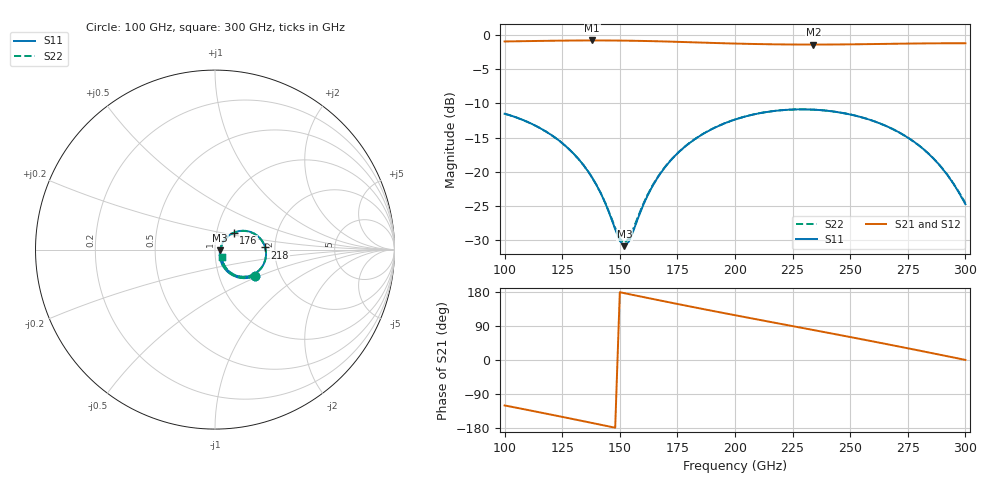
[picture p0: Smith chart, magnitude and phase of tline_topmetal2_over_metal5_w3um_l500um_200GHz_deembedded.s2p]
! Created with skrf 2.2.0 (http://scikit-rf.org).
# GHz S DB R 50.0
! Port[1] = P1
! Port[2] = P2
!freq dBS11 angS11 dBS21 angS21 dBS12 angS12 dBS22 angS22
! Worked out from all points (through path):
!   101 points, 100 GHz to 300 GHz, reference 50 ohm
!   highest |S21| = -0.78 dB at 138 GHz (marker M1); lowest = -1.4 dB at 234 GHz (marker M2)
!   group delay of S21, straight-line fit = 3.31 ps
!   lowest |S11| = -30.9 dB at 152 GHz (marker M3), VSWR 1.06, Z = 52.9 - j0.503 ohm
!   |S11| at or under -10 dB: start of sweep to end of sweep
!   |S22| runs from -30.4 to -10.9 dB; largest |S21 - S12| = 1e-13
!   S11 on the Smith chart (normalised r, x): 100 GHz: 1.48, -0.47; 176 GHz: 1.21, +0.23; 218 GHz: 1.77, +0.05; 300 GHz: 1.07, -0.09
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100  -11.50 -33.3  -0.93 -119.9  -0.93 -119.9  -11.51 -33.1
120  -14.56 -53.0  -0.83 -144.0  -0.83 -144.0  -14.57 -52.7
128  -16.70 -59.7  -0.80 -153.8  -0.80 -153.8  -16.71 -59.2
134  -18.93 -63.3  -0.78 -161.2  -0.78 -161.2  -18.93 -62.6
138  -20.86 -64.2  -0.78 -166.2  -0.78 -166.2  -20.85 -63.3
144  -24.85 -59.7  -0.78 -173.7  -0.78 -173.7  -24.78 -58.2
150  -30.12 -30.5  -0.80 178.8  -0.80 178.8  -29.77 -28.9
152  -30.90 -9.6  -0.81 176.3  -0.81 176.3  -30.44 -8.9
154  -30.20 11.5  -0.82 173.8  -0.82 173.8  -29.76 11.0
162  -23.52 44.2  -0.87 163.9  -0.87 163.9  -23.40 43.1
168  -20.07 46.0  -0.92 156.5  -0.92 156.5  -20.01 45.1
176  -17.01 42.0  -0.99 146.7  -0.99 146.7  -16.97 41.4
186  -14.50 33.9  -1.10 134.7  -1.10 134.7  -14.48 33.4
200  -12.36 20.6  -1.23 118.2  -1.23 118.2  -12.35 20.2
218  -11.07 2.4  -1.35 97.5  -1.35 97.5  -11.06 2.2
234  -10.91 -13.7  -1.38 79.1  -1.38 79.1  -10.91 -13.9
250  -11.62 -29.6  -1.35 60.6  -1.35 60.6  -11.61 -29.7
268  -13.68 -46.6  -1.27 39.3  -1.27 39.3  -13.68 -46.6
278  -15.69 -54.7  -1.23 27.3  -1.23 27.3  -15.69 -54.5
286  -18.02 -59.1  -1.20 17.5  -1.20 17.5  -18.00 -58.7
294  -21.36 -58.6  -1.19 7.7  -1.19 7.7  -21.30 -57.9
300  -24.74 -49.1  -1.19 0.2  -1.19 0.2  -24.59 -48.0
